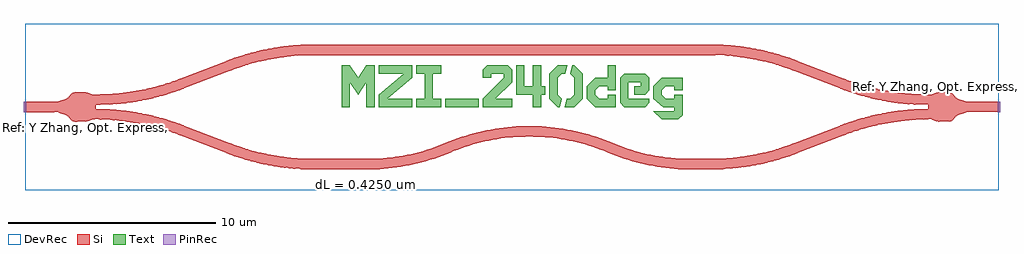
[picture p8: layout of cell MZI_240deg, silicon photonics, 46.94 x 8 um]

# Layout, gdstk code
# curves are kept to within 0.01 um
import gdstk
lib = gdstk.Library(unit=1e-6, precision=1e-09)
def R(c, l, rs):  # rectangles x0, y0, x1, y1
    for r in rs: c.add(gdstk.rectangle(r[:2], r[2:], *l))
def P(c, l, *ps):  # polygons
    for p in ps: c.add(gdstk.Polygon(p, *l))
Si = (1, 0)
PinRec = (1, 10)
Text = (10, 0)
DevRec = (68, 0)

optical_port1 = lib.new_cell('optical_port1')
optical_port1.add(gdstk.FlexPath([(0.05,0),(-0.05,0)], 0.5, ends="flush", simple_path=True, layer=1, datatype=10))  # PinRec
optical_port1.add(gdstk.FlexPath([(0.05,0),(-0.05,0)], 0.5, ends="flush", simple_path=True, layer=1, datatype=10))  # PinRec
optical_port1.add(gdstk.FlexPath([(0.05,0),(-0.05,0)], 0.5, ends="flush", simple_path=True, layer=1, datatype=10))  # PinRec
optical_port1.add(gdstk.FlexPath([(0.05,0),(-0.05,0)], 0.5, ends="flush", simple_path=True, layer=1, datatype=10))  # PinRec
optical_port1.add(gdstk.FlexPath([(0.05,0),(-0.05,0)], 0.5, ends="flush", simple_path=True, layer=1, datatype=10))  # PinRec
optical_port1.add(gdstk.FlexPath([(0.05,0),(-0.05,0)], 0.5, ends="flush", simple_path=True, layer=1, datatype=10))  # PinRec
optical_port1.add(gdstk.FlexPath([(0.05,0),(-0.05,0)], 0.5, ends="flush", simple_path=True, layer=1, datatype=10))  # PinRec
optical_port1.add(gdstk.FlexPath([(0.05,0),(-0.05,0)], 0.5, ends="flush", simple_path=True, layer=1, datatype=10))  # PinRec
optical_port1.add(gdstk.FlexPath([(0.05,0),(-0.05,0)], 0.5, ends="flush", simple_path=True, layer=1, datatype=10))  # PinRec
optical_port1.add(gdstk.FlexPath([(0.05,0),(-0.05,0)], 0.5, ends="flush", simple_path=True, layer=1, datatype=10))  # PinRec
optical_port1.add(gdstk.FlexPath([(0.05,0),(-0.05,0)], 0.5, ends="flush", simple_path=True, layer=1, datatype=10))  # PinRec
optical_port1.add(gdstk.FlexPath([(0.05,0),(-0.05,0)], 0.5, ends="flush", simple_path=True, layer=1, datatype=10))  # PinRec
optical_port1.add(gdstk.FlexPath([(0.05,0),(-0.05,0)], 0.5, ends="flush", simple_path=True, layer=1, datatype=10))  # PinRec
optical_port1.add(gdstk.FlexPath([(0.05,0),(-0.05,0)], 0.5, ends="flush", simple_path=True, layer=1, datatype=10))  # PinRec
optical_port1.add(gdstk.FlexPath([(0.05,0),(-0.05,0)], 0.5, ends="flush", simple_path=True, layer=1, datatype=10))  # PinRec
optical_port1.add(gdstk.FlexPath([(0.05,0),(-0.05,0)], 0.5, ends="flush", simple_path=True, layer=1, datatype=10))  # PinRec
optical_port1.add(gdstk.FlexPath([(0.05,0),(-0.05,0)], 0.5, ends="flush", simple_path=True, layer=1, datatype=10))  # PinRec
optical_port1.add(gdstk.FlexPath([(0.05,0),(-0.05,0)], 0.5, ends="flush", simple_path=True, layer=1, datatype=10))  # PinRec
optical_port1.add(gdstk.FlexPath([(0.05,0),(-0.05,0)], 0.5, ends="flush", simple_path=True, layer=1, datatype=10))  # PinRec
optical_port1.add(gdstk.FlexPath([(0.05,0),(-0.05,0)], 0.5, ends="flush", simple_path=True, layer=1, datatype=10))  # PinRec
optical_port1.add(gdstk.FlexPath([(0.05,0),(-0.05,0)], 0.5, ends="flush", simple_path=True, layer=1, datatype=10))  # PinRec
optical_port1.add(gdstk.FlexPath([(0.05,0),(-0.05,0)], 0.5, ends="flush", simple_path=True, layer=1, datatype=10))  # PinRec
optical_port1.add(gdstk.FlexPath([(0.05,0),(-0.05,0)], 0.5, ends="flush", simple_path=True, layer=1, datatype=10))  # PinRec
optical_port1.add(gdstk.FlexPath([(0.05,0),(-0.05,0)], 0.5, ends="flush", simple_path=True, layer=1, datatype=10))  # PinRec
optical_port1.add(gdstk.FlexPath([(0.05,0),(-0.05,0)], 0.5, ends="flush", simple_path=True, layer=1, datatype=10))  # PinRec
optical_port1.add(gdstk.FlexPath([(0.05,0),(-0.05,0)], 0.5, ends="flush", simple_path=True, layer=1, datatype=10))  # PinRec
optical_port1.add(gdstk.FlexPath([(0.05,0),(-0.05,0)], 0.5, ends="flush", simple_path=True, layer=1, datatype=10))  # PinRec
optical_port1.add(gdstk.FlexPath([(0.05,0),(-0.05,0)], 0.5, ends="flush", simple_path=True, layer=1, datatype=10))  # PinRec
optical_port1.add(gdstk.FlexPath([(0.05,0),(-0.05,0)], 0.5, ends="flush", simple_path=True, layer=1, datatype=10))  # PinRec
optical_port1.add(gdstk.FlexPath([(0.05,0),(-0.05,0)], 0.5, ends="flush", simple_path=True, layer=1, datatype=10))  # PinRec
optical_port1.add(gdstk.FlexPath([(0.05,0),(-0.05,0)], 0.5, ends="flush", simple_path=True, layer=1, datatype=10))  # PinRec
optical_port1.add(gdstk.FlexPath([(0.05,0),(-0.05,0)], 0.5, ends="flush", simple_path=True, layer=1, datatype=10))  # PinRec
optical_port1.add(gdstk.FlexPath([(0.05,0),(-0.05,0)], 0.5, ends="flush", simple_path=True, layer=1, datatype=10))  # PinRec
optical_port1.add(gdstk.FlexPath([(0.05,0),(-0.05,0)], 0.5, ends="flush", simple_path=True, layer=1, datatype=10))  # PinRec
optical_port1.add(gdstk.FlexPath([(0.05,0),(-0.05,0)], 0.5, ends="flush", simple_path=True, layer=1, datatype=10))  # PinRec
optical_port1.add(gdstk.FlexPath([(0.05,0),(-0.05,0)], 0.5, ends="flush", simple_path=True, layer=1, datatype=10))  # PinRec
optical_port1.add(gdstk.FlexPath([(0.05,0),(-0.05,0)], 0.5, ends="flush", simple_path=True, layer=1, datatype=10))  # PinRec
optical_port1.add(gdstk.Label('o1', (0,0), layer=1, texttype=10))
optical_port1.add(gdstk.Label('o1', (0,0), layer=1, texttype=10))
optical_port1.add(gdstk.Label('o1', (0,0), layer=1, texttype=10))
optical_port1.add(gdstk.Label('o1', (0,0), layer=1, texttype=10))
optical_port1.add(gdstk.Label('o1', (0,0), layer=1, texttype=10))
optical_port1.add(gdstk.Label('o1', (0,0), layer=1, texttype=10))
optical_port1.add(gdstk.Label('o1', (0,0), layer=1, texttype=10))
optical_port1.add(gdstk.Label('o1', (0,0), layer=1, texttype=10))
optical_port1.add(gdstk.Label('o1', (0,0), layer=1, texttype=10))
optical_port1.add(gdstk.Label('o1', (0,0), layer=1, texttype=10))
optical_port1.add(gdstk.Label('o1', (0,0), layer=1, texttype=10))
optical_port1.add(gdstk.Label('o1', (0,0), layer=1, texttype=10))
optical_port1.add(gdstk.Label('o1', (0,0), layer=1, texttype=10))
optical_port1.add(gdstk.Label('o1', (0,0), layer=1, texttype=10))
optical_port1.add(gdstk.Label('o1', (0,0), layer=1, texttype=10))
optical_port1.add(gdstk.Label('o1', (0,0), layer=1, texttype=10))
optical_port1.add(gdstk.Label('o1', (0,0), layer=1, texttype=10))
optical_port1.add(gdstk.Label('o1', (0,0), layer=1, texttype=10))
optical_port1.add(gdstk.Label('o1', (0,0), layer=1, texttype=10))
optical_port1.add(gdstk.Label('o1', (0,0), layer=1, texttype=10))
optical_port1.add(gdstk.Label('o1', (0,0), layer=1, texttype=10))
optical_port1.add(gdstk.Label('o1', (0,0), layer=1, texttype=10))
optical_port1.add(gdstk.Label('o1', (0,0), layer=1, texttype=10))
optical_port1.add(gdstk.Label('o1', (0,0), layer=1, texttype=10))
optical_port1.add(gdstk.Label('o1', (0,0), layer=1, texttype=10))
optical_port1.add(gdstk.Label('o1', (0,0), layer=1, texttype=10))
optical_port1.add(gdstk.Label('o1', (0,0), layer=1, texttype=10))
optical_port1.add(gdstk.Label('o1', (0,0), layer=1, texttype=10))
optical_port1.add(gdstk.Label('o1', (0,0), layer=1, texttype=10))
optical_port1.add(gdstk.Label('o1', (0,0), layer=1, texttype=10))
optical_port1.add(gdstk.Label('o1', (0,0), layer=1, texttype=10))
optical_port1.add(gdstk.Label('o1', (0,0), layer=1, texttype=10))
optical_port1.add(gdstk.Label('o1', (0,0), layer=1, texttype=10))
optical_port1.add(gdstk.Label('o1', (0,0), layer=1, texttype=10))
optical_port1.add(gdstk.Label('o1', (0,0), layer=1, texttype=10))
optical_port1.add(gdstk.Label('o1', (0,0), layer=1, texttype=10))
optical_port1.add(gdstk.Label('o1', (0,0), layer=1, texttype=10))

optical_port2 = lib.new_cell('optical_port2')
optical_port2.add(gdstk.FlexPath([(-0.05,0),(0.05,0)], 0.5, ends="flush", simple_path=True, layer=1, datatype=10))  # PinRec
optical_port2.add(gdstk.FlexPath([(-0.05,0),(0.05,0)], 0.5, ends="flush", simple_path=True, layer=1, datatype=10))  # PinRec
optical_port2.add(gdstk.FlexPath([(-0.05,0),(0.05,0)], 0.5, ends="flush", simple_path=True, layer=1, datatype=10))  # PinRec
optical_port2.add(gdstk.FlexPath([(-0.05,0),(0.05,0)], 0.5, ends="flush", simple_path=True, layer=1, datatype=10))  # PinRec
optical_port2.add(gdstk.FlexPath([(-0.05,0),(0.05,0)], 0.5, ends="flush", simple_path=True, layer=1, datatype=10))  # PinRec
optical_port2.add(gdstk.FlexPath([(-0.05,0),(0.05,0)], 0.5, ends="flush", simple_path=True, layer=1, datatype=10))  # PinRec
optical_port2.add(gdstk.FlexPath([(-0.05,0),(0.05,0)], 0.5, ends="flush", simple_path=True, layer=1, datatype=10))  # PinRec
optical_port2.add(gdstk.FlexPath([(-0.05,0),(0.05,0)], 0.5, ends="flush", simple_path=True, layer=1, datatype=10))  # PinRec
optical_port2.add(gdstk.FlexPath([(-0.05,0),(0.05,0)], 0.5, ends="flush", simple_path=True, layer=1, datatype=10))  # PinRec
optical_port2.add(gdstk.FlexPath([(-0.05,0),(0.05,0)], 0.5, ends="flush", simple_path=True, layer=1, datatype=10))  # PinRec
optical_port2.add(gdstk.FlexPath([(-0.05,0),(0.05,0)], 0.5, ends="flush", simple_path=True, layer=1, datatype=10))  # PinRec
optical_port2.add(gdstk.FlexPath([(-0.05,0),(0.05,0)], 0.5, ends="flush", simple_path=True, layer=1, datatype=10))  # PinRec
optical_port2.add(gdstk.FlexPath([(-0.05,0),(0.05,0)], 0.5, ends="flush", simple_path=True, layer=1, datatype=10))  # PinRec
optical_port2.add(gdstk.FlexPath([(-0.05,0),(0.05,0)], 0.5, ends="flush", simple_path=True, layer=1, datatype=10))  # PinRec
optical_port2.add(gdstk.FlexPath([(-0.05,0),(0.05,0)], 0.5, ends="flush", simple_path=True, layer=1, datatype=10))  # PinRec
optical_port2.add(gdstk.FlexPath([(-0.05,0),(0.05,0)], 0.5, ends="flush", simple_path=True, layer=1, datatype=10))  # PinRec
optical_port2.add(gdstk.FlexPath([(-0.05,0),(0.05,0)], 0.5, ends="flush", simple_path=True, layer=1, datatype=10))  # PinRec
optical_port2.add(gdstk.FlexPath([(-0.05,0),(0.05,0)], 0.5, ends="flush", simple_path=True, layer=1, datatype=10))  # PinRec
optical_port2.add(gdstk.FlexPath([(-0.05,0),(0.05,0)], 0.5, ends="flush", simple_path=True, layer=1, datatype=10))  # PinRec
optical_port2.add(gdstk.FlexPath([(-0.05,0),(0.05,0)], 0.5, ends="flush", simple_path=True, layer=1, datatype=10))  # PinRec
optical_port2.add(gdstk.FlexPath([(-0.05,0),(0.05,0)], 0.5, ends="flush", simple_path=True, layer=1, datatype=10))  # PinRec
optical_port2.add(gdstk.FlexPath([(-0.05,0),(0.05,0)], 0.5, ends="flush", simple_path=True, layer=1, datatype=10))  # PinRec
optical_port2.add(gdstk.FlexPath([(-0.05,0),(0.05,0)], 0.5, ends="flush", simple_path=True, layer=1, datatype=10))  # PinRec
optical_port2.add(gdstk.FlexPath([(-0.05,0),(0.05,0)], 0.5, ends="flush", simple_path=True, layer=1, datatype=10))  # PinRec
optical_port2.add(gdstk.FlexPath([(-0.05,0),(0.05,0)], 0.5, ends="flush", simple_path=True, layer=1, datatype=10))  # PinRec
optical_port2.add(gdstk.FlexPath([(-0.05,0),(0.05,0)], 0.5, ends="flush", simple_path=True, layer=1, datatype=10))  # PinRec
optical_port2.add(gdstk.FlexPath([(-0.05,0),(0.05,0)], 0.5, ends="flush", simple_path=True, layer=1, datatype=10))  # PinRec
optical_port2.add(gdstk.FlexPath([(-0.05,0),(0.05,0)], 0.5, ends="flush", simple_path=True, layer=1, datatype=10))  # PinRec
optical_port2.add(gdstk.FlexPath([(-0.05,0),(0.05,0)], 0.5, ends="flush", simple_path=True, layer=1, datatype=10))  # PinRec
optical_port2.add(gdstk.FlexPath([(-0.05,0),(0.05,0)], 0.5, ends="flush", simple_path=True, layer=1, datatype=10))  # PinRec
optical_port2.add(gdstk.FlexPath([(-0.05,0),(0.05,0)], 0.5, ends="flush", simple_path=True, layer=1, datatype=10))  # PinRec
optical_port2.add(gdstk.FlexPath([(-0.05,0),(0.05,0)], 0.5, ends="flush", simple_path=True, layer=1, datatype=10))  # PinRec
optical_port2.add(gdstk.FlexPath([(-0.05,0),(0.05,0)], 0.5, ends="flush", simple_path=True, layer=1, datatype=10))  # PinRec
optical_port2.add(gdstk.FlexPath([(-0.05,0),(0.05,0)], 0.5, ends="flush", simple_path=True, layer=1, datatype=10))  # PinRec
optical_port2.add(gdstk.FlexPath([(-0.05,0),(0.05,0)], 0.5, ends="flush", simple_path=True, layer=1, datatype=10))  # PinRec
optical_port2.add(gdstk.FlexPath([(-0.05,0),(0.05,0)], 0.5, ends="flush", simple_path=True, layer=1, datatype=10))  # PinRec
optical_port2.add(gdstk.FlexPath([(-0.05,0),(0.05,0)], 0.5, ends="flush", simple_path=True, layer=1, datatype=10))  # PinRec
optical_port2.add(gdstk.Label('o2', (0,0), layer=1, texttype=10))
optical_port2.add(gdstk.Label('o2', (0,0), layer=1, texttype=10))
optical_port2.add(gdstk.Label('o2', (0,0), layer=1, texttype=10))
optical_port2.add(gdstk.Label('o2', (0,0), layer=1, texttype=10))
optical_port2.add(gdstk.Label('o2', (0,0), layer=1, texttype=10))
optical_port2.add(gdstk.Label('o2', (0,0), layer=1, texttype=10))
optical_port2.add(gdstk.Label('o2', (0,0), layer=1, texttype=10))
optical_port2.add(gdstk.Label('o2', (0,0), layer=1, texttype=10))
optical_port2.add(gdstk.Label('o2', (0,0), layer=1, texttype=10))
optical_port2.add(gdstk.Label('o2', (0,0), layer=1, texttype=10))
optical_port2.add(gdstk.Label('o2', (0,0), layer=1, texttype=10))
optical_port2.add(gdstk.Label('o2', (0,0), layer=1, texttype=10))
optical_port2.add(gdstk.Label('o2', (0,0), layer=1, texttype=10))
optical_port2.add(gdstk.Label('o2', (0,0), layer=1, texttype=10))
optical_port2.add(gdstk.Label('o2', (0,0), layer=1, texttype=10))
optical_port2.add(gdstk.Label('o2', (0,0), layer=1, texttype=10))
optical_port2.add(gdstk.Label('o2', (0,0), layer=1, texttype=10))
optical_port2.add(gdstk.Label('o2', (0,0), layer=1, texttype=10))
optical_port2.add(gdstk.Label('o2', (0,0), layer=1, texttype=10))
optical_port2.add(gdstk.Label('o2', (0,0), layer=1, texttype=10))
optical_port2.add(gdstk.Label('o2', (0,0), layer=1, texttype=10))
optical_port2.add(gdstk.Label('o2', (0,0), layer=1, texttype=10))
optical_port2.add(gdstk.Label('o2', (0,0), layer=1, texttype=10))
optical_port2.add(gdstk.Label('o2', (0,0), layer=1, texttype=10))
optical_port2.add(gdstk.Label('o2', (0,0), layer=1, texttype=10))
optical_port2.add(gdstk.Label('o2', (0,0), layer=1, texttype=10))
optical_port2.add(gdstk.Label('o2', (0,0), layer=1, texttype=10))
optical_port2.add(gdstk.Label('o2', (0,0), layer=1, texttype=10))
optical_port2.add(gdstk.Label('o2', (0,0), layer=1, texttype=10))
optical_port2.add(gdstk.Label('o2', (0,0), layer=1, texttype=10))
optical_port2.add(gdstk.Label('o2', (0,0), layer=1, texttype=10))
optical_port2.add(gdstk.Label('o2', (0,0), layer=1, texttype=10))
optical_port2.add(gdstk.Label('o2', (0,0), layer=1, texttype=10))
optical_port2.add(gdstk.Label('o2', (0,0), layer=1, texttype=10))
optical_port2.add(gdstk.Label('o2', (0,0), layer=1, texttype=10))
optical_port2.add(gdstk.Label('o2', (0,0), layer=1, texttype=10))
optical_port2.add(gdstk.Label('o2', (0,0), layer=1, texttype=10))

text_tmzi_240deg_s2_p16_ = lib.new_cell('text_TMZI_240deg_S2_P16_3664513e')
R(text_tmzi_240deg_s2_p16_, Text, [(12.82,0,14.42,0.4)])
P(text_tmzi_240deg_s2_p16_, Text, [(23.22,-0.6),(22.82,-0.2),(23.82,-0.2),(23.82,0),(23.288,0),(22.82,0.4),(22.82,1),(23.22,1.4),(24.22,1.4),(24.22,0.8),(23.82,0.8),(23.82,1),(23.42,1),(23.22,0.8),(23.22,0.6),(23.42,0.4),(23.82,0.4),(23.82,0.6),(24.22,0.6),(24.22,-0.4),(24.02,-0.6)],
  [(21.42,0),(21.22,0.2),(21.22,1.4),(21.42,1.6),(22.42,1.6),(22.62,1.4),(22.62,0.8),(22.42,0.6),(21.9,0.6),(21.9,1),(22.22,1),(22.22,1.2),(21.62,1.2),(21.62,0.4),(22.62,0.4),(22.62,0.2),(22.42,0)],
  [(7.82,0),(7.82,2),(8.22,2),(8.62,1.4),(9.02,2),(9.42,2),(9.42,0),(9.02,0),(9.02,1.2),(8.62,0.6),(8.22,1.2),(8.22,0)],
  [(9.62,0),(9.62,0.6),(10.82,1.6),(9.62,1.6),(9.62,2),(11.22,2),(11.22,1.4),(10.02,0.4),(11.22,0.4),(11.22,0)],
  [(11.42,0),(11.42,0.4),(11.82,0.4),(11.82,1.6),(11.42,1.6),(11.42,2),(12.62,2),(12.62,1.6),(12.22,1.6),(12.22,0.4),(12.62,0.4),(12.62,0)],
  [(14.62,0),(14.62,0.4),(15.62,1.4),(15.62,1.6),(15.02,1.6),(15.02,1.4),(14.62,1.4),(14.62,1.8),(14.82,2),(15.82,2),(16.02,1.8),(16.02,1.2),(15.22,0.4),(16.02,0.4),(16.02,0)],
  [(17.02,0),(17.02,0.6),(16.22,0.6),(16.22,2),(16.62,2),(16.62,1),(17.02,1),(17.02,2),(17.42,2),(17.42,1),(17.62,1),(17.62,0.6),(17.42,0.6),(17.42,0)],
  [(18.22,0),(17.82,0.4),(17.82,1.6),(18.22,2),(18.68,2),(18.58,1.6),(18.42,1.6),(18.22,1.4),(18.22,0.6),(18.42,0.4),(18.32,0)],
  [(18.56,0),(18.66,0.4),(18.82,0.4),(19.02,0.6),(19.02,1.4),(18.82,1.6),(18.92,2),(19.02,2),(19.42,1.6),(19.42,0.4),(19.02,0)],
  [(20.02,0),(19.62,0.4),(19.62,1),(20.02,1.4),(20.62,1.4),(20.62,2),(21.02,2),(21.02,0.8),(20.62,0.8),(20.62,1),(20.22,1),(20.02,0.8),(20.02,0.6),(20.22,0.4),(20.62,0.4),(20.62,0.6),(21.02,0.6),(21.02,0)])

mzi_240deg = lib.new_cell('MZI_240deg')
P(mzi_240deg, Si, [(6.458,-3),(5.718,-2.974),(4.993,-2.903),(4.257,-2.784),(3.509,-2.613),(3.017,-2.472),(2.491,-2.295),(-0.369,-1.202),(-1.123,-0.974),(-1.826,-0.812),(-2.677,-0.678),(-3.601,-0.607),(-4.123,-0.595),(-4.492,-0.699),(-4.991,-0.701),(-5.077,-0.683),(-5.145,-0.647),(-5.344,-0.44),(-5.434,-0.378),(-5.833,-0.25),(-7.4,-0.25),(-7.4,0.25),(-5.833,0.25),(-5.434,0.378),(-5.344,0.44),(-5.145,0.647),(-5.077,0.683),(-4.991,0.701),(-4.492,0.699),(-4.123,0.595),(-3.501,0.611),(-2.619,0.685),(-1.693,0.839),(-0.976,1.014),(-0.334,1.214),(2.412,2.266),(3.109,2.5),(6.456,2.5),(5.796,2.478),(5.119,2.415),(4.414,2.305),(3.799,2.171),(3.282,2.03),(2.706,1.841),(0.088,0.834),(-0.72,0.567),(-1.565,0.355),(-2.381,0.212),(-3.16,0.13),(-4,0.1),(-4,-0.1),(-3.265,-0.123),(-2.564,-0.188),(-1.895,-0.29),(-1.214,-0.435),(-0.612,-0.599),(-0.086,-0.771),(2.532,-1.777),(3.336,-2.046),(3.962,-2.21),(4.54,-2.328),(5.119,-2.415),(5.678,-2.47),(6.456,-2.5),(9.237,-2.498),(9.822,-2.469),(10.404,-2.404),(10.982,-2.305),(11.74,-2.119),(12.298,-1.94),(13.612,-1.439),(14.202,-1.262),(14.601,-1.165),(15.206,-1.048),(15.816,-0.968),(16.226,-0.935),(16.841,-0.917),(17.456,-0.935),(17.866,-0.968),(18.476,-1.048),(19.081,-1.165),(19.48,-1.262),(20.07,-1.439),(20.457,-1.576),(21.2,-1.873),(21.754,-2.063),(22.318,-2.22),(23.084,-2.375),(23.859,-2.469),(24.444,-2.498),(25.756,-2.498),(26.488,-2.46),(27.036,-2.4),(27.625,-2.305),(28.24,-2.171),(28.757,-2.03),(29.507,-1.777),(32.008,-0.813),(32.461,-0.658),(32.999,-0.5),(33.796,-0.316),(34.532,-0.197),(35.288,-0.124),(36.039,-0.1),(36.039,0.1),(35.304,0.123),(34.603,0.188),(33.934,0.29),(33.253,0.435),(32.651,0.599),(32.125,0.771),(29.507,1.777),(28.757,2.03),(28.24,2.171),(27.667,2.297),(27.08,2.394),(26.567,2.453),(26.081,2.487),(25.583,2.5),(3.109,2.5),(3.59,2.634),(4.147,2.762),(4.757,2.87),(5.294,2.938),(5.868,2.983),(6.458,3),(25.581,3),(26.446,2.965),(27.046,2.903),(27.644,2.81),(28.229,2.688),(28.819,2.533),(29.627,2.266),(32.373,1.214),(33.015,1.014),(33.732,0.839),(34.658,0.685),(35.54,0.611),(36.162,0.595),(36.531,0.699),(37.03,0.701),(37.116,0.683),(37.184,0.647),(37.383,0.44),(37.473,0.378),(37.872,0.25),(39.439,0.25),(39.439,-0.25),(37.872,-0.25),(37.473,-0.378),(37.383,-0.44),(37.184,-0.647),(37.116,-0.683),(37.03,-0.701),(36.531,-0.699),(36.162,-0.595),(35.54,-0.611),(34.658,-0.685),(33.732,-0.839),(33.015,-1.014),(32.373,-1.214),(29.627,-2.266),(28.937,-2.498),(28.449,-2.634),(27.892,-2.762),(27.282,-2.87),(26.745,-2.938),(25.848,-2.996),(24.434,-2.998),(23.614,-2.949),(23.004,-2.869),(22.399,-2.752),(21.606,-2.541),(21.023,-2.341),(20.462,-2.114),(19.912,-1.913),(19.162,-1.697),(18.589,-1.575),(18.01,-1.487),(17.426,-1.435),(16.841,-1.417),(16.256,-1.435),(15.672,-1.487),(15.093,-1.575),(14.52,-1.697),(13.77,-1.913),(12.658,-2.341),(12.075,-2.541),(11.282,-2.752),(10.677,-2.869),(10.067,-2.949),(9.452,-2.992)])
R(mzi_240deg, DevRec, [(-7.4,-4,39.439,4)])
mzi_240deg.add(gdstk.Reference(optical_port1, (-7.4,0)))
mzi_240deg.add(gdstk.Reference(optical_port2, (39.439,0)))
mzi_240deg.add(gdstk.Reference(text_tmzi_240deg_s2_p16_, (0,0)))
mzi_240deg.add(gdstk.Label('Ref: Y Zhang, Opt. Express, 21/1, 2013', (-5.65,-1), layer=10, texttype=0))
mzi_240deg.add(gdstk.Label('Ref: Y Zhang, Opt. Express, 21/1, 2013', (37.689,1), layer=10, texttype=0))
mzi_240deg.add(gdstk.Label('dL = 0.4250 um', (9.043,-3.75), layer=10, texttype=0))

lib.write_gds('MZI_240deg.gds')
